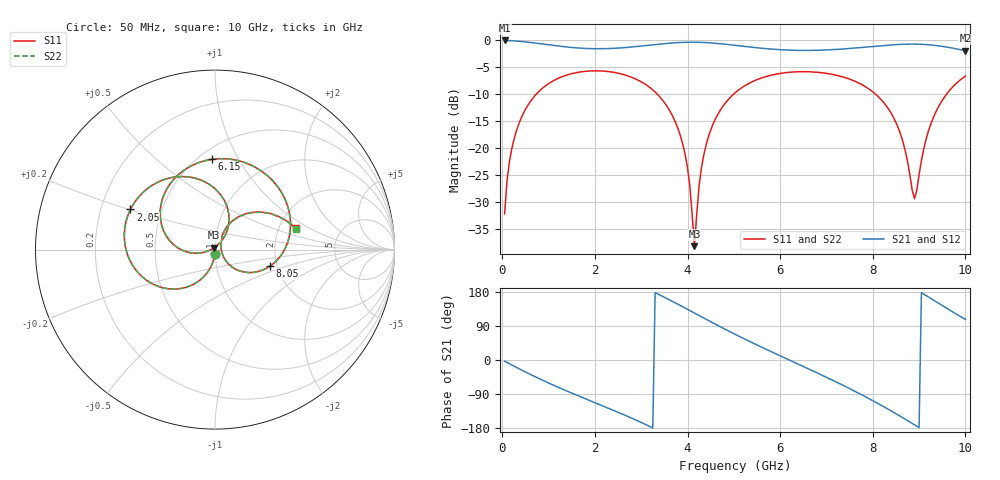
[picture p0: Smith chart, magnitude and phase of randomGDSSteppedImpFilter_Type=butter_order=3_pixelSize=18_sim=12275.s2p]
! freq	dB(S11)	phase(S11)	dB(S12)	phase(S12)
!  dB(S21)	phase(S21)	dB(S22)	phase(S22)
!S-par simulation data
#  GHz  S  DB  R 50
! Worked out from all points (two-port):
!   200 points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, 50 MHz to 10 GHz, reference 50 ohm
!   highest |S21| = -0.01 dB at 50 MHz (marker M1); lowest = -1.9 dB at 10 GHz (marker M2)
!   |S21| within 3 dB of the highest: start of sweep to end of sweep
!   lowest |S11| = -38.3 dB at 4.15 GHz (marker M3), VSWR 1.02, Z = 49.3 + j0.998 ohm
!   |S11| at or under -10 dB: start of sweep to 733.6 MHz; 3.348 GHz to 4.993 GHz (1.645 GHz wide, 39.5 % of centre); 8.061 GHz to 9.592 GHz (1.531 GHz wide, 17.3 % of centre)
!   |S22| runs from -37.7 to -5.7 dB; largest |S21 - S12| = 0
!   S11 on the Smith chart (normalised r, x): 50 MHz: 1.00, -0.05; 2.05 GHz: 0.33, +0.20; 6.15 GHz: 0.58, +0.78; 8.05 GHz: 1.83, -0.38; 10 GHz: 2.48, +0.75
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0.05  -32.24 -93.4  -0.01 -3.3  -0.01 -3.3  -32.24 -93.4
0.2  -20.35 -103.2  -0.06 -12.8  -0.06 -12.8  -20.35 -103.2
0.5  -12.82 -121.9  -0.27 -31.5  -0.27 -31.5  -12.82 -121.9
1.1  -7.51 -156.7  -0.93 -66.2  -0.93 -66.2  -7.51 -156.7
1.75  -5.79 169.5  -1.47 -100.0  -1.47 -100.0  -5.79 169.5
2.05  -5.66 154.6  -1.54 -115.0  -1.54 -115.0  -5.66 154.6
3.4  -10.48 82.8  -0.67 171.8  -0.67 171.8  -10.48 82.9
3.9  -19.38 55.3  -0.36 140.3  -0.36 140.3  -19.38 55.7
4.05  -27.12 54.4  -0.33 130.5  -0.33 130.5  -27.08 55.4
4.15  -38.25 124.2  -0.33 123.9  -0.33 123.9  -37.74 124.2
4.25  -27.00 -167.7  -0.35 117.4  -0.35 117.4  -26.96 -168.8
4.4  -19.45 -168.9  -0.41 107.6  -0.41 107.6  -19.44 -169.4
5.05  -9.57 154.4  -0.93 66.4  -0.93 66.4  -9.57 154.1
6.15  -5.97 92.0  -1.79 2.6  -1.79 2.6  -5.97 91.8
6.7  -5.86 61.5  -1.85 -28.4  -1.85 -28.4  -5.86 61.4
7.45  -7.04 18.8  -1.53 -72.4  -1.53 -72.4  -7.04 18.7
8.05  -9.91 -16.9  -1.08 -110.6  -1.08 -110.6  -9.91 -16.9
8.35  -12.89 -34.4  -0.86 -131.1  -0.86 -131.1  -12.88 -34.3
8.65  -18.81 -46.8  -0.71 -152.5  -0.71 -152.5  -18.78 -46.3
8.9  -29.44 7.2  -0.69 -171.0  -0.69 -171.0  -29.07 7.0
9.3  -14.51 58.7  -0.88 158.8  -0.88 158.8  -14.50 58.1
10  -6.64 14.7  -1.92 107.1  -1.92 107.1  -6.64 14.3
